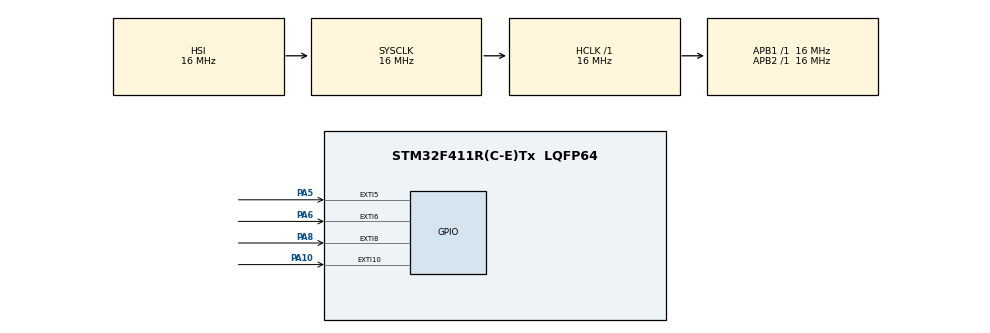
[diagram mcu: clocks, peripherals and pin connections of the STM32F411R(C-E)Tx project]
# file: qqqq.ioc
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Mcu.Family=STM32F4
Mcu.Name=STM32F411R(C-E)Tx
Mcu.Package=LQFP64
NVIC.EXTI15_10_IRQn=true\:0\:0\:false\:false\:true\:true\:true\:true
NVIC.EXTI9_5_IRQn=true\:0\:0\:false\:false\:true\:true\:true\:true
NVIC.PriorityGroup=NVIC_PRIORITYGROUP_4
PA10.GPIO_ModeDefaultEXTI=GPIO_MODE_IT_RISING_FALLING
PA10.GPIO_PuPd=GPIO_PULLUP
PA10.Signal=GPXTI10
PA5.GPIO_ModeDefaultEXTI=GPIO_MODE_IT_RISING_FALLING
PA5.GPIO_PuPd=GPIO_PULLUP
PA5.Signal=GPXTI5
PA6.GPIO_ModeDefaultEXTI=GPIO_MODE_IT_RISING_FALLING
PA6.GPIO_PuPd=GPIO_PULLUP
PA6.Signal=GPXTI6
PA8.GPIO_ModeDefaultEXTI=GPIO_MODE_IT_RISING_FALLING
PA8.GPIO_PuPd=GPIO_PULLUP
PA8.Signal=GPXTI8
ProjectManager.HeapSize=0x200
ProjectManager.StackSize=0x400
ProjectManager.TargetToolchain=STM32CubeIDE
RCC.AHBFreq_Value=16000000
RCC.APB1Freq_Value=16000000
RCC.APB2Freq_Value=16000000
RCC.CortexFreq_Value=16000000
RCC.HSE_VALUE=25000000
RCC.HSI_VALUE=16000000
RCC.LSE_VALUE=32768
RCC.SYSCLKFreq_VALUE=16000000
RCC.VCOOutputFreq_Value=192000000
board=custom

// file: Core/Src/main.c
/* USER CODE BEGIN Header */
/**
 ******************************************************************************
 * @file           : main.c
 * @brief          : Main program body
 ******************************************************************************
 * @attention
 *
 * Copyright (c) 2024 STMicroelectronics.
 * All rights reserved.
 *
 * This software is licensed under terms that can be found in the LICENSE file
 * in the root directory of this software component.
 * If no LICENSE file comes with this software, it is provided AS-IS.
 *
 ******************************************************************************
 */
/* USER CODE END Header */
#include "main.h"

/* USER CODE BEGIN Includes */
#include <stdio.h>
/* USER CODE END Includes */

/* USER CODE BEGIN PM */
#define SHORT_LOWER 500
#define SHORT_UPPER 1500
#define LONG_LOWER 1500
#define LONG_UPPER 2500
#define MESSAGE_SIZE 8		// message size including single startbit
/* USER CODE END PM */

/* USER CODE BEGIN PV */
struct Receiver {
	uint32_t data[MESSAGE_SIZE];
	uint32_t time_start;		// 0
	uint32_t time_stop;			// 0
	uint8_t first_interrupt;	// 1
	uint32_t captured[32];
	uint8_t position;			// 0
	uint8_t bit_count;			// 0
	uint32_t state;				// 0
	uint32_t start_state;		// 0
} Receiver1, Receiver2, Receiver3, Receiver4;
/* USER CODE END PV */

void SystemClock_Config(void);
static void MX_GPIO_Init(void);

/* USER CODE BEGIN 0 */
void IR_Receive_Handler(struct Receiver* Rec) {
	int elapsed = 0;
	if (Rec->first_interrupt == 1) {	// only runs once
		Rec->time_start = TIM1->CNT;	// saves first start time
		Rec->first_interrupt = 0;
	} else {
		Rec->time_stop = TIM1->CNT;	// saves stop time
		if (Rec->time_start > Rec->time_stop) {	// checks if overflowed
			elapsed = (0xFFFF - Rec->time_start) + Rec->time_stop;// calcs elapsed time
		} else {
			elapsed = Rec->time_stop - Rec->time_start;	// calcs elapsed time
		}
		Rec->time_start = Rec->time_stop;	// saves starttime to stop time for next interrupt
	}
	Rec->captured[Rec->position] = elapsed;	// output buffer for data

	if (Rec->start_state) {
		switch (Rec->state) {
		case 0:
			if (elapsed > SHORT_LOWER && elapsed < SHORT_UPPER) {// checks if elapsed short
				Rec->state = 1;
			} else {	// unexpected behaviour : exit statemachine and reset
				//				state = 0;		// NOTE : if commented code works, if not it enters for some reason
				//				bit_count = 0;
				//				start_state = 0;
			}
			break;
		case 1:
			if (elapsed > SHORT_LOWER && elapsed < SHORT_UPPER) {// checks if elapsed short
				Rec->state = 2;
			} else if (elapsed > LONG_LOWER && elapsed < LONG_UPPER) {// checks if elapsed long
				Rec->state = 3;
			} else {	// unexpected behaviour : exit statemachine and reset
				//				state = 0;		// NOTE : if commented code works, if not it enters for some reason
				//				bit_count = 0;
				//				start_state = 0;
				break;
			}
			Rec->data[Rec->bit_count] = 1;	// write to data
			Rec->bit_count++;	// increment the count of the bits already received
			if (Rec->bit_count > MESSAGE_SIZE) {// unexpected behaviour : exit statemachine and reset
				Rec->state = 0;
				Rec->bit_count = 0;
				Rec->start_state = 0;
			}
			break;
		case 2:
			if (elapsed > SHORT_LOWER && elapsed < SHORT_UPPER) {// checks if elapsed short
				Rec->state = 1;
			} else {	// unexpected behaviour : exit statemachine and reset
				Rec->state = 0;
				Rec->bit_count = 0;
				Rec->start_state = 0;
			}
			break;
		case 3:
			if (elapsed > SHORT_LOWER && elapsed < SHORT_UPPER) {// checks if elapsed short
				Rec->state = 4;
			} else if (elapsed > LONG_LOWER && elapsed < LONG_UPPER) {// checks if elapsed long
				Rec->state = 1;
			} else {	// unexpected behaviour : exit statemachine and reset
				Rec->state = 0;
				Rec->bit_count = 0;
				Rec->start_state = 0;
				break;
			}
			Rec->data[Rec->bit_count] = 0;	// write to data
			Rec->bit_count++;	// increment the count of the bits already received
			if (Rec->bit_count > MESSAGE_SIZE) {// unexpected behaviour : exit statemachine and reset
				Rec->state = 0;
				Rec->bit_count = 0;
				Rec->start_state = 0;
			}
			break;
		case 4:
			if (elapsed > SHORT_LOWER && elapsed < SHORT_UPPER) {// checks if elapsed short
				Rec->state = 3;
			} else {	// unexpected behaviour : exit statemachine and reset
				Rec->state = 0;
				Rec->bit_count = 0;
				Rec->start_state = 0;
			}
			break;
		}

	}

	if (elapsed > 2500) {// checks if "breakfield" is detected and enables the statemachine
		Rec->start_state = 1;
	}

	Rec->position++;	// increments position of buffer
	if (Rec->position > 31) {
		Rec->position = 0;	// makes buffer circular
	}
}

void init_IR_receiver(struct Receiver* Rec_init){	// sets standard values for structs
	Rec_init->time_start = 0;			// 0
	Rec_init->time_stop = 0;			// 0
	Rec_init->first_interrupt = 1;		// 1
	Rec_init->position = 0;				// 0
	Rec_init->bit_count = 0;			// 0
	Rec_init->state = 0;				// 0
	Rec_init->start_state = 0;			// 0
}

/* USER CODE END 0 */

int main(void)
{

  /* MCU Configuration--------------------------------------------------------*/

  /* Reset of all peripherals, Initializes the Flash interface and the Systick. */
  HAL_Init();

  /* USER CODE BEGIN Init */
  init_IR_receiver(&Receiver1);
  init_IR_receiver(&Receiver2);
  init_IR_receiver(&Receiver3);
  init_IR_receiver(&Receiver4);

  /* USER CODE END Init */

  /* Configure the system clock */
  SystemClock_Config();

  /* Initialize all configured peripherals */
  MX_GPIO_Init();
  /* USER CODE BEGIN 2 */
	__HAL_RCC_TIM1_CLK_ENABLE();
	TIM1->PSC = HAL_RCC_GetPCLK1Freq() / 1000000 - 1;
	TIM1->ARR = 0xFFFFFFFF;
	TIM1->CR1 = TIM_CR1_CEN;

  /* USER CODE END 2 */

  /* Infinite loop */
	while (1) {

	}
}

void SystemClock_Config(void)
{
  RCC_OscInitTypeDef RCC_OscInitStruct = {0};
  RCC_ClkInitTypeDef RCC_ClkInitStruct = {0};

  /** Configure the main internal regulator output voltage
  */
  __HAL_RCC_PWR_CLK_ENABLE();
  __HAL_PWR_VOLTAGESCALING_CONFIG(PWR_REGULATOR_VOLTAGE_SCALE1);

  /** Initializes the RCC Oscillators according to the specified parameters
  * in the RCC_OscInitTypeDef structure.
  */
  RCC_OscInitStruct.OscillatorType = RCC_OSCILLATORTYPE_HSI;
  RCC_OscInitStruct.HSIState = RCC_HSI_ON;
  RCC_OscInitStruct.HSICalibrationValue = RCC_HSICALIBRATION_DEFAULT;
  RCC_OscInitStruct.PLL.PLLState = RCC_PLL_NONE;
  if (HAL_RCC_OscConfig(&RCC_OscInitStruct) != HAL_OK)
  {
    Error_Handler();
  }

  /** Initializes the CPU, AHB and APB buses clocks
  */
  RCC_ClkInitStruct.ClockType = RCC_CLOCKTYPE_HCLK|RCC_CLOCKTYPE_SYSCLK
                              |RCC_CLOCKTYPE_PCLK1|RCC_CLOCKTYPE_PCLK2;
  RCC_ClkInitStruct.SYSCLKSource = RCC_SYSCLKSOURCE_HSI;
  RCC_ClkInitStruct.AHBCLKDivider = RCC_SYSCLK_DIV1;
  RCC_ClkInitStruct.APB1CLKDivider = RCC_HCLK_DIV1;
  RCC_ClkInitStruct.APB2CLKDivider = RCC_HCLK_DIV1;

  if (HAL_RCC_ClockConfig(&RCC_ClkInitStruct, FLASH_LATENCY_0) != HAL_OK)
  {
    Error_Handler();
  }
}

static void MX_GPIO_Init(void)
{
  GPIO_InitTypeDef GPIO_InitStruct = {0};

  /* GPIO Ports Clock Enable */
  __HAL_RCC_GPIOA_CLK_ENABLE();

  /*Configure GPIO pins : PA5 PA6 PA8 PA10 */
  GPIO_InitStruct.Pin = GPIO_PIN_5|GPIO_PIN_6|GPIO_PIN_8|GPIO_PIN_10;
  GPIO_InitStruct.Mode = GPIO_MODE_IT_RISING_FALLING;
  GPIO_InitStruct.Pull = GPIO_PULLUP;
  HAL_GPIO_Init(GPIOA, &GPIO_InitStruct);

  /* EXTI interrupt init*/
  HAL_NVIC_SetPriority(EXTI9_5_IRQn, 0, 0);
  HAL_NVIC_EnableIRQ(EXTI9_5_IRQn);

  HAL_NVIC_SetPriority(EXTI15_10_IRQn, 0, 0);
  HAL_NVIC_EnableIRQ(EXTI15_10_IRQn);

}

/* USER CODE BEGIN 4 */
void HAL_GPIO_EXTI_Callback(uint16_t GPIO_Pin) {
	switch (GPIO_Pin) {
	case GPIO_PIN_8:	// case for pin 8
		IR_Receive_Handler(&Receiver1);	// function to handle the IR data
		break;
	case GPIO_PIN_5:	// case for pin 5 different for PCB
		IR_Receive_Handler(&Receiver2);	// function to handle the IR data
		break;
	case GPIO_PIN_10:	// case for pin 10
		IR_Receive_Handler(&Receiver3);	// function to handle the IR data
		break;
	case GPIO_PIN_6:	// case for pin 6 different for PCB
		IR_Receive_Handler(&Receiver4);	// function to handle the IR data
		break;
	}
//	IR_Receive_1();
}
/* USER CODE END 4 */

void Error_Handler(void)
{
	__disable_irq();
	while (1) {
	}
}
